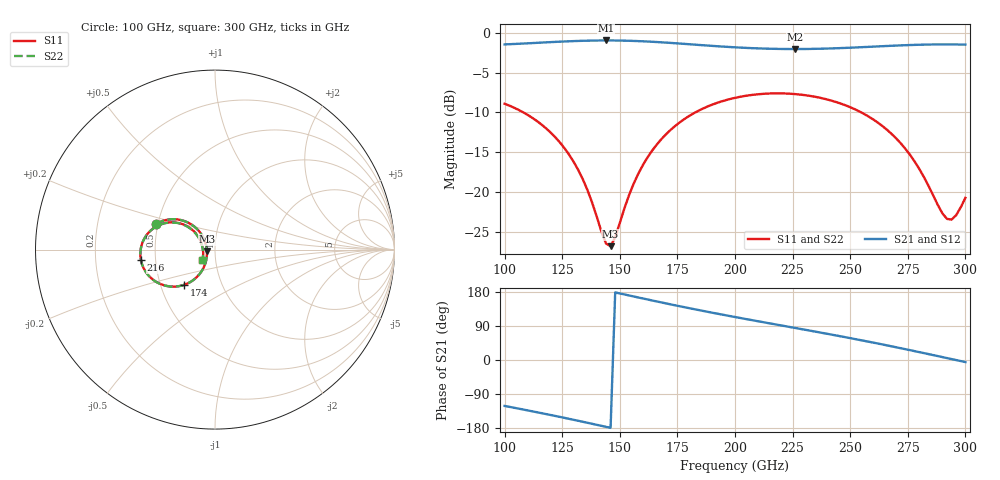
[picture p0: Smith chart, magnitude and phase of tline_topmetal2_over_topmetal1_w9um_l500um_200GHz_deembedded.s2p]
! Created with skrf 2.2.0 (http://scikit-rf.org).
# GHz S DB R 50.0
! Port[1] = P1
! Port[2] = P2
!freq dBS11 angS11 dBS21 angS21 dBS12 angS12 dBS22 angS22
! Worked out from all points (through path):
!   101 points, 100 GHz to 300 GHz, reference 50 ohm
!   highest |S21| = -0.95 dB at 144 GHz (marker M1); lowest = -2.0 dB at 226 GHz (marker M2)
!   group delay of S21, straight-line fit = 3.35 ps
!   lowest |S11| = -26.8 dB at 146 GHz (marker M3), VSWR 1.10, Z = 45.7 - j0.795 ohm
!   |S11| at or under -10 dB: 108.2 GHz to 182.7 GHz (74.55 GHz wide, 51.3 % of centre); 254.8 GHz to end of sweep
!   |S22| runs from -26.8 to -7.6 dB; largest |S21 - S12| = 1.5e-13
!   S11 on the Smith chart (normalised r, x): 100 GHz: 0.49, +0.16; 174 GHz: 0.66, -0.28; 216 GHz: 0.41, -0.06; 300 GHz: 0.86, -0.10
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100  -8.90 156.6  -1.44 -121.3  -1.44 -121.3  -8.90 156.7
110  -10.30 146.6  -1.31 -133.0  -1.31 -133.0  -10.30 146.7
120  -12.53 137.4  -1.16 -145.2  -1.16 -145.2  -12.52 137.5
128  -15.30 131.8  -1.05 -155.3  -1.05 -155.3  -15.30 132.0
134  -18.43 131.3  -0.99 -163.1  -0.99 -163.1  -18.42 131.4
144  -26.48 169.1  -0.95 -176.3  -0.95 -176.3  -26.45 169.1
146  -26.81 -169.0  -0.95 -179.0  -0.95 -179.0  -26.79 -169.1
148  -25.68 -149.5  -0.95 178.3  -0.95 178.3  -25.68 -149.5
158  -17.71 -121.9  -1.03 165.0  -1.03 165.0  -17.72 -121.8
168  -13.37 -126.1  -1.18 152.0  -1.18 152.0  -13.37 -126.0
174  -11.70 -131.1  -1.29 144.4  -1.29 144.4  -11.70 -131.0
186  -9.52 -142.6  -1.55 129.7  -1.55 129.7  -9.52 -142.4
200  -8.16 -156.4  -1.81 113.5  -1.81 113.5  -8.16 -156.2
216  -7.60 -171.8  -1.99 95.7  -1.99 95.7  -7.60 -171.6
226  -7.69 178.7  -2.03 84.7  -2.03 84.7  -7.69 178.9
234  -7.99 171.2  -2.01 75.9  -2.01 75.9  -7.99 171.4
252  -9.59 154.6  -1.83 55.4  -1.83 55.4  -9.59 154.9
268  -12.70 142.0  -1.62 36.1  -1.62 36.1  -12.69 142.4
278  -16.18 139.1  -1.50 23.4  -1.50 23.4  -16.16 139.5
292  -23.37 176.6  -1.44 5.1  -1.44 5.1  -23.26 176.9
296  -22.91 -157.0  -1.45 -0.2  -1.45 -0.2  -22.81 -157.1
300  -20.74 -139.5  -1.47 -5.4  -1.47 -5.4  -20.68 -139.7
